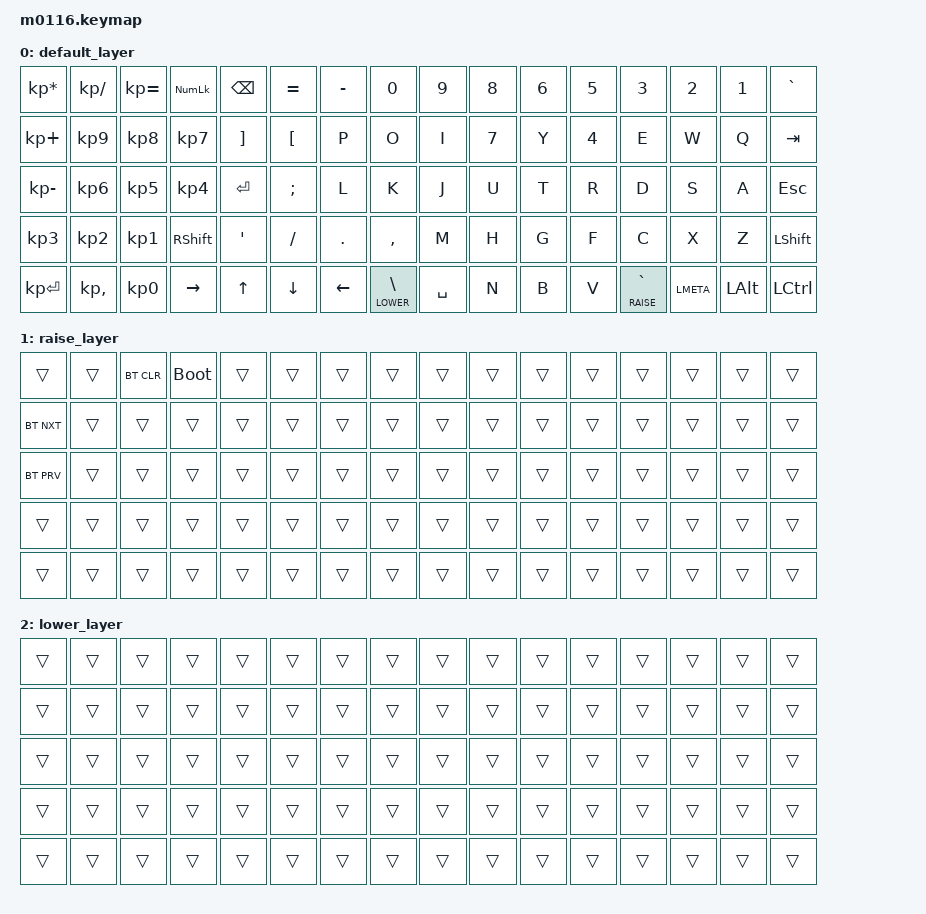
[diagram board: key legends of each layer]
/*
 * Copyright (c) 2021 The ZMK Contributors
 *
 * SPDX-License-Identifier: MIT
 */

#include <behaviors.dtsi>
#include <dt-bindings/zmk/keys.h>
#include <dt-bindings/zmk/bt.h>
#include <dt-bindings/zmk/outputs.h>

#define DEFAULT  0
#define RAISE    1
#define LOWER    2

// -----------------------------------
// | TAB:TAB |    |    |    |    |   -:-  =:=  <:<   |   (< = bksp)
// | ESC:ESC |    |    |    |    |    |   #:#   |
// |    |    |    |    |    |    |    |    |
//           |    |    |         |    |    |

/ {
    keymap {
        compatible = "zmk,keymap";

        default_layer {
            bindings = <
  &kp KP_ASTERISK   &kp KP_DIVIDE  &kp KP_EQUAL  &kp KP_NUM      &kp BACKSPACE  &kp EQUAL  &kp MINUS  &kp N0  &kp N9  &kp N8   &kp N6  &kp N5  &kp N3  &kp N2  &kp N1  &kp GRAVE
  &kp KP_PLUS       &kp KP_N9      &kp KP_N8     &kp KP_N7       &kp RIGHT_BRACKET  &kp LEFT_BRACKET  &kp P  &kp O  &kp I  &kp N7  &kp Y  &kp N4  &kp E  &kp W   &kp Q  &kp TAB
  &kp KP_MINUS      &kp KP_N6      &kp KP_N5     &kp KP_N4       &kp ENTER  &kp SEMICOLON  &kp L  &kp K   &kp J  &kp U  &kp T  &kp R  &kp D  &kp S  &kp A  &kp ESC
  &kp KP_N3         &kp KP_N2      &kp KP_N1                     &kp RSHIFT  &kp APOSTROPHE  &kp SLASH  &kp PERIOD &kp COMMA  &kp M  &kp H  &kp G  &kp F  &kp C  &kp X  &kp Z  &kp LSHIFT
  &kp KP_ENTER      &kp KP_COMMA   &kp KP_N0                     &kp RIGHT  &kp UP &kp DOWN  &kp LEFT  &lt LOWER BACKSLASH  &kp SPACE  &kp N  &kp B  &kp V  &lt RAISE GRAVE  &kp LMETA  &kp LALT  &kp LCTRL
            >;
        };
       raise_layer {
            bindings = <
  &trans        &trans          &bt BT_CLR    &bootloader       &trans  &trans  &trans  &trans  &trans  &trans  &trans  &trans  &trans  &trans  &trans  &trans
  &bt BT_NXT        &trans      &trans        &trans            &trans  &trans  &trans  &trans  &trans  &trans  &trans  &trans  &trans  &trans  &trans  &trans
  &bt BT_PRV        &trans      &trans        &trans            &trans  &trans  &trans  &trans  &trans  &trans  &trans  &trans  &trans  &trans  &trans  &trans
  &trans            &trans      &trans                          &trans  &trans  &trans  &trans  &trans  &trans  &trans  &trans  &trans  &trans  &trans  &trans  &trans
  &trans            &trans      &trans                          &trans  &trans  &trans  &trans  &trans  &trans  &trans  &trans  &trans  &trans  &trans  &trans  &trans
            >;
       };
       lower_layer {
            bindings = <
  &trans            &trans      &trans    &trans       &trans  &trans  &trans  &trans  &trans  &trans  &trans  &trans  &trans  &trans  &trans  &trans
  &trans        &trans      &trans        &trans            &trans  &trans  &trans  &trans  &trans  &trans  &trans  &trans  &trans  &trans  &trans  &trans
  &trans        &trans      &trans        &trans            &trans  &trans  &trans  &trans  &trans  &trans  &trans  &trans  &trans  &trans  &trans  &trans
  &trans            &trans      &trans                          &trans  &trans  &trans  &trans  &trans  &trans  &trans  &trans  &trans  &trans  &trans  &trans  &trans
  &trans            &trans      &trans                          &trans  &trans  &trans  &trans  &trans  &trans  &trans  &trans  &trans  &trans  &trans  &trans  &trans
                >;
               };
    };
};
